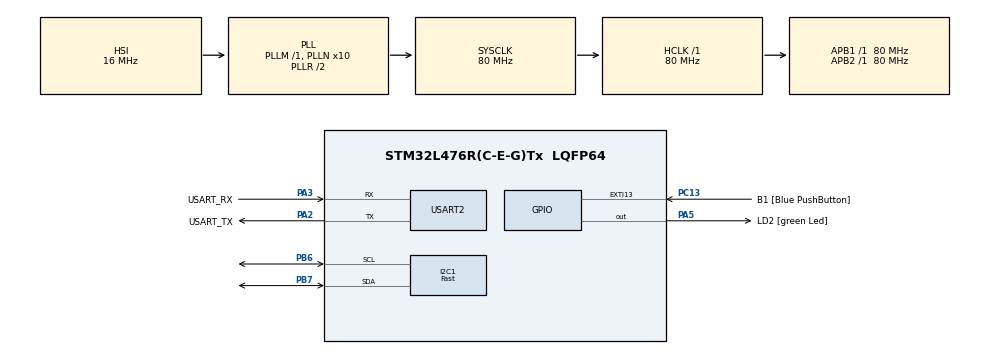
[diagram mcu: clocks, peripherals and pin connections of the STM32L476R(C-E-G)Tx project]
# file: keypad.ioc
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I2C1.I2C_Speed_Mode=I2C_Fast
I2C1.Timing=0x00F12981
Mcu.Family=STM32L4
Mcu.Name=STM32L476R(C-E-G)Tx
Mcu.Package=LQFP64
NVIC.PriorityGroup=NVIC_PRIORITYGROUP_4
PA13\ (JTMS-SWDIO).GPIO_Label=TMS
PA13\ (JTMS-SWDIO).Mode=Serial_Wire
PA13\ (JTMS-SWDIO).Signal=SYS_JTMS-SWDIO
PA14\ (JTCK-SWCLK).GPIO_Label=TCK
PA14\ (JTCK-SWCLK).Mode=Serial_Wire
PA14\ (JTCK-SWCLK).Signal=SYS_JTCK-SWCLK
PA2.GPIO_Label=USART_TX
PA2.GPIO_Mode=GPIO_MODE_AF_PP
PA2.GPIO_PuPd=GPIO_NOPULL
PA2.GPIO_Speed=GPIO_SPEED_FREQ_VERY_HIGH
PA2.Mode=Asynchronous
PA2.Signal=USART2_TX
PA3.GPIO_Label=USART_RX
PA3.GPIO_Mode=GPIO_MODE_AF_PP
PA3.GPIO_PuPd=GPIO_NOPULL
PA3.GPIO_Speed=GPIO_SPEED_FREQ_VERY_HIGH
PA3.Mode=Asynchronous
PA3.Signal=USART2_RX
PA5.GPIO_Label=LD2 [green Led]
PA5.GPIO_ModeDefaultOutputPP=GPIO_MODE_OUTPUT_PP
PA5.GPIO_PuPd=GPIO_NOPULL
PA5.GPIO_Speed=GPIO_SPEED_FREQ_LOW
PA5.Signal=GPIO_Output
PB3\ (JTDO-TRACESWO).GPIO_Label=SWO
PB3\ (JTDO-TRACESWO).Signal=SYS_JTDO-SWO
PB6.Mode=I2C
PB6.Signal=I2C1_SCL
PB7.Mode=I2C
PB7.Signal=I2C1_SDA
PC13.GPIO_Label=B1 [Blue PushButton]
PC13.GPIO_ModeDefaultEXTI=GPIO_MODE_IT_FALLING
PC13.GPIO_PuPd=GPIO_NOPULL
PC13.Signal=GPXTI13
PC14-OSC32_IN\ (PC14).Mode=LSE-External-Oscillator
PC14-OSC32_IN\ (PC14).Signal=RCC_OSC32_IN
PC15-OSC32_OUT\ (PC15).Mode=LSE-External-Oscillator
PC15-OSC32_OUT\ (PC15).Signal=RCC_OSC32_OUT
PH0-OSC_IN\ (PH0).Signal=RCC_OSC_IN
PH1-OSC_OUT\ (PH1).Signal=RCC_OSC_OUT
ProjectManager.HeapSize=0x200
ProjectManager.StackSize=0x400
ProjectManager.TargetToolchain=STM32CubeIDE
RCC.ADCFreq_Value=64000000
RCC.AHBFreq_Value=80000000
RCC.APB1Freq_Value=80000000
RCC.APB1TimFreq_Value=80000000
RCC.APB2Freq_Value=80000000
RCC.APB2TimFreq_Value=80000000
RCC.CortexFreq_Value=80000000
RCC.HCLKFreq_Value=80000000
RCC.HSE_VALUE=8000000
RCC.HSI_VALUE=16000000
RCC.MSI_VALUE=4000000
RCC.PLLN=10
RCC.PLLSourceVirtual=RCC_PLLSOURCE_HSI
RCC.PREFETCH_ENABLE=1
RCC.SYSCLKFreq_VALUE=80000000
RCC.SYSCLKSource=RCC_SYSCLKSOURCE_PLLCLK
RCC.USBFreq_Value=64000000
RCC.VCOOutputFreq_Value=160000000
USART2.VirtualMode-Asynchronous=VM_ASYNC
board=NUCLEO-L476RG

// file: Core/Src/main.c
/* USER CODE BEGIN Header */
/**
  ******************************************************************************
  * @file           : main.c
  * @brief          : STM32L476 Touch Keypad with Internal Pull-ups
  ******************************************************************************
  */
/* USER CODE END Header */
#include "main.h"
#include <string.h>

/* USER CODE BEGIN PM */
#define KEYPAD_I2C_ADDRESS (0x0B << 1)

/* USER CODE END PM */

I2C_HandleTypeDef hi2c1;
uint8_t status[2]={0},pho[12]={0};
uint32_t i=0;
UART_HandleTypeDef huart2;

void SystemClock_Config(void);
static void MX_GPIO_Init(void);
static void MX_USART2_UART_Init(void);
static void MX_I2C1_Init(void);

int main(void)
{

  /* MCU Configuration--------------------------------------------------------*/

  /* Reset of all peripherals, Initializes the Flash interface and the Systick. */
  HAL_Init();

  /* Configure the system clock */
  SystemClock_Config();

  /* Initialize all configured peripherals */
  MX_GPIO_Init();
  MX_USART2_UART_Init();
  MX_I2C1_Init();

  /* Infinite loop */
  while (1)
  {

    /* USER CODE BEGIN 3 */
	  if (HAL_I2C_Mem_Read(&hi2c1, KEYPAD_I2C_ADDRESS, 0x02, I2C_MEMADD_SIZE_8BIT, status, 2, 1000) != HAL_OK)
	      	          {

		  	  	  	  	  char msg[] = "I2C read Error\r\n";
		  	  	  	  	  HAL_UART_Transmit(&huart2, (uint8_t*)msg, strlen(msg), HAL_MAX_DELAY);
	      	              Error_Handler();
	      	          }

	             // Check which key is pressed
	      	  if (status[0] & 0x10)
	      	          {
	      		char msg[] = "1 got pressed\r\n";
	      		HAL_UART_Transmit(&huart2, (uint8_t*)msg, strlen(msg), HAL_MAX_DELAY);
	      		pho[i++]='1';
	      	              if(i==10)
	      	              {
	      	            	  printf("phone number is:-- %s\n",pho);
	      	            	memset(pho, 0, sizeof(pho));
	      	            	i=0;
	      	              }
	      	          }
	      	          if (status[0] & 0x20)
	      	          {
	      	              pho[i++]='2';
	      	              if(i==10)
	      	              {
	      	            	  printf("phone number is:-- %s\n",pho);
	      	            	memset(pho, 0, sizeof(pho));
	      	            	i=0;
	      	              }
	      	      		char msg[] = "2 got pressed\r\n";
	      	      		HAL_UART_Transmit(&huart2, (uint8_t*)msg, strlen(msg), HAL_MAX_DELAY);
	      	          }
	      	          if (status[0] & 0x40)
	      	          {
	      	              pho[i++]='3';
	      	              if(i==10)
	      	              {
	      	            	  printf("phone number is:-- %s\n",pho);
	      	            	memset(pho, 0, sizeof(pho));
	      	            	i=0;
	      	              }
	      	      		char msg[] = "3 got pressed\r\n";
	      	      		HAL_UART_Transmit(&huart2, (uint8_t*)msg, strlen(msg), HAL_MAX_DELAY);
	      	          }
	      	          if (status[0] & 0x80)
	      	          {
	      	        	  pho[i++]='4';
	    	              if(i==10)
	    	              {
	    	            	  printf("phone number is:-- %s\n",pho);
	    	            	  memset(pho, 0, sizeof(pho));
	    	            	  i=0;
	    	              }
	    		      		char msg[] = "4 got pressed\r\n";
	    		      		HAL_UART_Transmit(&huart2, (uint8_t*)msg, strlen(msg), HAL_MAX_DELAY);
	      	          }
	      	          if (status[1] & 0x01)
	      	          {
	      	              pho[i++]='5';
	      	              if(i==10)
	      	              {
	      	            	  printf("phone number is:-- %s\n",pho);
	      	            	memset(pho, 0, sizeof(pho));
	      	            	i=0;
	      	              }
	      	      		char msg[] = "5 got pressed\r\n";
	      	      		HAL_UART_Transmit(&huart2, (uint8_t*)msg, strlen(msg), HAL_MAX_DELAY);
	      	          }
	      	          if (status[1] & 0x02)
	      	          {
	      	              pho[i++]='6';
	      	              if(i==10)
	      	              {
	      	            	  printf("phone number is:-- %s\n",pho);
	      	            	memset(pho, 0, sizeof(pho));
	      	            	i=0;
	      	              }
	      	      		char msg[] = "6 got pressed\r\n";
	      	      		HAL_UART_Transmit(&huart2, (uint8_t*)msg, strlen(msg), HAL_MAX_DELAY);
	      	          }
	      	          if (status[1] & 0x04)
	      	        	  {
	      	      		char msg[] = "7 got pressed\r\n";
	      	      		HAL_UART_Transmit(&huart2, (uint8_t*)msg, strlen(msg), HAL_MAX_DELAY);
	      	              pho[i++]='7';
	      	              if(i==10){
	      	            	  printf("phone number is:-- %s\n",pho);
	      	            	memset(pho, 0, sizeof(pho));
	      	            	i=0;
	      	              }
	      	        	  }
	      	              if (status[1] & 0x08)
	      	            	  {
	      	  	              pho[i++]='8';
	      	  	              if(i==10)
	      	  	              {
	      	  	            	  printf("phone number is:-- %s\n",pho);
	      	  	            	memset(pho, 0, sizeof(pho));
	      	  	            	i=0;
	      	  	              }
	      		      		char msg[] = "8 got pressed\r\n";
	      		      		HAL_UART_Transmit(&huart2, (uint8_t*)msg, strlen(msg), HAL_MAX_DELAY);
	      	            	  }
	      	              if (status[1] & 0x10)
	      	            	  {
	      	  	              pho[i++]='9';
	      	  	              if(i==10)
	      	  	              {
	      	  	            	  printf("phone number is:-- %s\n",pho);
	      	  	            	memset(pho, 0, sizeof(pho));
	      	  	            	i=0;
	      	  	              }
	      		      		char msg[] = "9 got pressed\r\n";
	      		      		HAL_UART_Transmit(&huart2, (uint8_t*)msg, strlen(msg), HAL_MAX_DELAY);
	      	            	  }
	      	              if (status[1] & 0x20)
	      	            		  {
	      	  	              pho[i++];
	      	  	              if(i==10)
	      	  	              {
	      	  	            	  printf("phone number is:-- %s\n",pho);
	      	  	            	memset(pho, 0, sizeof(pho));
	      	  	              }
	      	            	  printf("Key Correct Pressed\n");
	      	            		  }
	      	              if (status[1] & 0x40)
	      	            	  {
	      	  	              pho[i++]='0';
	      	  	              if(i==10)
	      	  	              {
	      	  	            	  printf("phone number is:-- %s\n",pho);
	      	  	            	memset(pho, 0, sizeof(pho));
	      	  	            	i=0;
	      	  	              }
	      		      		char msg[] = "0 got pressed\r\n";
	      		      		HAL_UART_Transmit(&huart2, (uint8_t*)msg, strlen(msg), HAL_MAX_DELAY);
	      	            	  }
	      	              if (status[1] & 0x80)
	      	            	  {
	      	  	              pho[i++];
	      	  	              if(i==10)
	      	  	            	  printf("phone number is:-- %s\n",pho);
	      	            	  printf("Key cancle Pressed\n");
	      	            	  }
	      	         HAL_Delay(500);

  }
  /* USER CODE END 3 */
}

void SystemClock_Config(void)
{
  RCC_OscInitTypeDef RCC_OscInitStruct = {0};
  RCC_ClkInitTypeDef RCC_ClkInitStruct = {0};

  /** Configure the main internal regulator output voltage
  */
  if (HAL_PWREx_ControlVoltageScaling(PWR_REGULATOR_VOLTAGE_SCALE1) != HAL_OK)
  {
    Error_Handler();
  }

  /** Initializes the RCC Oscillators according to the specified parameters
  * in the RCC_OscInitTypeDef structure.
  */
  RCC_OscInitStruct.OscillatorType = RCC_OSCILLATORTYPE_HSI;
  RCC_OscInitStruct.HSIState = RCC_HSI_ON;
  RCC_OscInitStruct.HSICalibrationValue = RCC_HSICALIBRATION_DEFAULT;
  RCC_OscInitStruct.PLL.PLLState = RCC_PLL_ON;
  RCC_OscInitStruct.PLL.PLLSource = RCC_PLLSOURCE_HSI;
  RCC_OscInitStruct.PLL.PLLM = 1;
  RCC_OscInitStruct.PLL.PLLN = 10;
  RCC_OscInitStruct.PLL.PLLP = RCC_PLLP_DIV7;
  RCC_OscInitStruct.PLL.PLLQ = RCC_PLLQ_DIV2;
  RCC_OscInitStruct.PLL.PLLR = RCC_PLLR_DIV2;
  if (HAL_RCC_OscConfig(&RCC_OscInitStruct) != HAL_OK)
  {
    Error_Handler();
  }

  /** Initializes the CPU, AHB and APB buses clocks
  */
  RCC_ClkInitStruct.ClockType = RCC_CLOCKTYPE_HCLK|RCC_CLOCKTYPE_SYSCLK
                              |RCC_CLOCKTYPE_PCLK1|RCC_CLOCKTYPE_PCLK2;
  RCC_ClkInitStruct.SYSCLKSource = RCC_SYSCLKSOURCE_PLLCLK;
  RCC_ClkInitStruct.AHBCLKDivider = RCC_SYSCLK_DIV1;
  RCC_ClkInitStruct.APB1CLKDivider = RCC_HCLK_DIV1;
  RCC_ClkInitStruct.APB2CLKDivider = RCC_HCLK_DIV1;

  if (HAL_RCC_ClockConfig(&RCC_ClkInitStruct, FLASH_LATENCY_4) != HAL_OK)
  {
    Error_Handler();
  }
}

static void MX_I2C1_Init(void)
{

  hi2c1.Instance = I2C1;
  hi2c1.Init.Timing = 0x00F12981;
  hi2c1.Init.OwnAddress1 = 0;
  hi2c1.Init.AddressingMode = I2C_ADDRESSINGMODE_7BIT;
  hi2c1.Init.DualAddressMode = I2C_DUALADDRESS_DISABLE;
  hi2c1.Init.OwnAddress2 = 0;
  hi2c1.Init.OwnAddress2Masks = I2C_OA2_NOMASK;
  hi2c1.Init.GeneralCallMode = I2C_GENERALCALL_DISABLE;
  hi2c1.Init.NoStretchMode = I2C_NOSTRETCH_DISABLE;
  if (HAL_I2C_Init(&hi2c1) != HAL_OK)
  {
    Error_Handler();
  }

  /** Configure Analogue filter
  */
  if (HAL_I2CEx_ConfigAnalogFilter(&hi2c1, I2C_ANALOGFILTER_ENABLE) != HAL_OK)
  {
    Error_Handler();
  }

  /** Configure Digital filter
  */
  if (HAL_I2CEx_ConfigDigitalFilter(&hi2c1, 0) != HAL_OK)
  {
    Error_Handler();
  }

}

static void MX_USART2_UART_Init(void)
{

  huart2.Instance = USART2;
  huart2.Init.BaudRate = 115200;
  huart2.Init.WordLength = UART_WORDLENGTH_8B;
  huart2.Init.StopBits = UART_STOPBITS_1;
  huart2.Init.Parity = UART_PARITY_NONE;
  huart2.Init.Mode = UART_MODE_TX_RX;
  huart2.Init.HwFlowCtl = UART_HWCONTROL_NONE;
  huart2.Init.OverSampling = UART_OVERSAMPLING_16;
  huart2.Init.OneBitSampling = UART_ONE_BIT_SAMPLE_DISABLE;
  huart2.AdvancedInit.AdvFeatureInit = UART_ADVFEATURE_NO_INIT;
  if (HAL_UART_Init(&huart2) != HAL_OK)
  {
    Error_Handler();
  }

}

static void MX_GPIO_Init(void)
{
  GPIO_InitTypeDef GPIO_InitStruct = {0};

  /* GPIO Ports Clock Enable */
  __HAL_RCC_GPIOC_CLK_ENABLE();
  __HAL_RCC_GPIOH_CLK_ENABLE();
  __HAL_RCC_GPIOA_CLK_ENABLE();
  __HAL_RCC_GPIOB_CLK_ENABLE();

  /*Configure GPIO pin Output Level */
  HAL_GPIO_WritePin(LD2_GPIO_Port, LD2_Pin, GPIO_PIN_RESET);

  /*Configure GPIO pin : B1_Pin */
  GPIO_InitStruct.Pin = B1_Pin;
  GPIO_InitStruct.Mode = GPIO_MODE_IT_FALLING;
  GPIO_InitStruct.Pull = GPIO_NOPULL;
  HAL_GPIO_Init(B1_GPIO_Port, &GPIO_InitStruct);

  /*Configure GPIO pin : LD2_Pin */
  GPIO_InitStruct.Pin = LD2_Pin;
  GPIO_InitStruct.Mode = GPIO_MODE_OUTPUT_PP;
  GPIO_InitStruct.Pull = GPIO_NOPULL;
  GPIO_InitStruct.Speed = GPIO_SPEED_FREQ_LOW;
  HAL_GPIO_Init(LD2_GPIO_Port, &GPIO_InitStruct);

}

void Error_Handler(void)
{
  __disable_irq();
  while (1)
  {
  }
}
